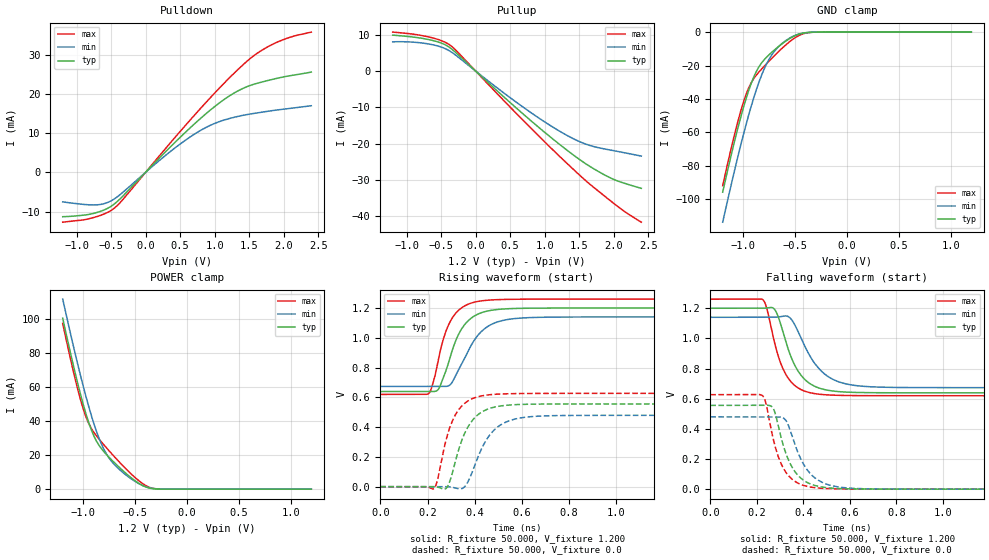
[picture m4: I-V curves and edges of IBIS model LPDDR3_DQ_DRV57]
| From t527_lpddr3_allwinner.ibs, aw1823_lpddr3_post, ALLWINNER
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|   Model LPDDR3_DQ_DRV57
[Model] LPDDR3_DQ_DRV57
Model_type I/O
Polarity   Non-Inverting
Enable   Active-Low
Vinl =  0.600V
Vinh =  0.600V
C_comp   1.906pF   1.854pF   1.980pF
C_comp_pullup   1.172pF   1.161pF   1.190pF
C_comp_pulldown   0.545pF   0.474pF   0.774pF
[Model Spec]
Vinh   0.600V   0.570V   0.630V
Vinl   0.600V   0.570V   0.630V
[Temperature Range]   25.000   0.125k   -40.000
[Voltage Range]   1.200V   1.140V   1.260V
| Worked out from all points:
|   slope of the pulldown table from 0 to 0.18 V, typ, clamps not added: 54.7 ohm
|   slope of the pullup table from 0 to 0.18 V, typ, clamps not added: 56.8 ohm
|   GND clamp passes 1 mA (typ) near -0.45 V on its own axis
|   POWER clamp passes 1 mA (typ) near -0.38 V on its own axis
|   rising waveform, R_fixture 50.000, V_fixture 1.200: 20-80 % time 85.5ps typ, 106ps min, 72.3ps max; typ from 0.639 V to 1.2 V
|   rising waveform, R_fixture 50.000, V_fixture 0.0: 20-80 % time 81.3ps typ, 95.3ps min, 72.3ps max; typ from 0 V to 0.556 V
|   falling waveform, R_fixture 50.000, V_fixture 1.200: 20-80 % time 88.6ps typ, 112ps min, 76.6ps max; typ from 1.2 V to 0.639 V
|   falling waveform, R_fixture 50.000, V_fixture 0.0: 20-80 % time 77.8ps typ, 89.4ps min, 70.9ps max; typ from 0.556 V to 0 V
[Pulldown]
|Voltage   I(typ)   I(min)   I(max)
-1.2V     -11.29mA   -7.519mA   -12.69mA
-719mV    -10.3mA    -8.289mA   -11.33mA
-460mV    -8.161mA   -6.855mA   -9.217mA
-312mV    -5.734mA   -4.826mA   -6.573mA
206mV     3.757mA    3.113mA    4.338mA
576mV     10.19mA    8.17mA     11.93mA
872mV     14.89mA    11.41mA    17.76mA
1.168V    18.93mA    13.48mA    23.25mA
1.501V    22.04mA    14.81mA    28.78mA
1.76V     23.34mA    15.53mA    31.88mA
2.056V    24.51mA    16.21mA    34.18mA
2.4V      25.53mA    16.96mA    35.72mA
[Pullup]
|Voltage   I(typ)   I(min)   I(max)
-1.2V     9.886mA    8.047mA    10.73mA
-708mV    8.778mA    7.54mA     9.508mA
-523mV    7.879mA    6.757mA    8.562mA
-375mV    6.476mA    5.518mA    7.204mA
-264mV    4.691mA    4.02mA     5.313mA
661mV     -11.39mA   -9.587mA   -13.07mA
1.031V    -17.38mA   -14.41mA   -20.11mA
1.327V    -21.87mA   -17.78mA   -25.53mA
1.623V    -25.92mA   -20.33mA   -30.69mA
1.919V    -29.16mA   -21.68mA   -35.27mA
2.141V    -30.86mA   -22.48mA   -38.53mA
2.4V      -32.36mA   -23.46mA   -41.68mA
[GND_clamp]
|Voltage   I(typ)   I(min)   I(max)
-1.2V     -95.73mA   -113.7mA   -91.89mA
-1.1V     -68.95mA   -86.51mA   -64.84mA
-1.025V   -50.74mA   -67.37mA   -47.06mA
-950mV    -35.1mA    -49.78mA   -33.48mA
-900mV    -26.83mA   -39.23mA   -27.79mA
-825mV    -18.46mA   -25.81mA   -22.14mA
-750mV    -13.41mA   -15.98mA   -17.2mA
-675mV    -9.342mA   -9.629mA   -12.51mA
-600mV    -5.766mA   -5.48mA    -8.156mA
-475mV    -1.482mA   -1.412mA   -2.402mA
-350mV    -108.6uA   -148.6uA   -181uA
1.2V      0A         0A         0A
[POWER_clamp]
|Voltage   I(typ)   I(min)   I(max)
-1.2V     100.2mA    111.4mA    97.13mA
-1.1V     73.3mA     84.65mA    69.74mA
-1.025V   54.87mA    65.84mA    51.77mA
-975mV    44.01mA    54.17mA    42.28mA
-925mV    34.95mA    43.45mA    35.71mA
-850mV    25.74mA    29.9mA     29.38mA
-775mV    20.11mA    20.35mA    24.04mA
-700mV    15.48mA    14.34mA    18.95mA
-575mV    8.482mA    7.639mA    11.02mA
-425mV    2.019mA    2.056mA    3.164mA
-300mV    129uA      244.9uA    195uA
1.2V      0A         0A         0A
[Ramp]
| variable   typ   min   max
dV/dt_r   0.333/82.648p   0.288/96.127p   0.376/72.267p
dV/dt_f   0.337/89.050p   0.280/0.114n   0.384/76.573p
R_load = 50.000
[Rising Waveform]
R_fixture= 50.000
V_fixture= 1.200
V_fixture_min= 1.140
V_fixture_max= 1.260
|time   V(typ)   V(min)   V(max)
0s        638.8mV    673.2mV    619.7mV
207ps     639mV      673.4mV    628.5mV
228ps     639.2mV    673.5mV    722.6mV
249ps     661.4mV    673.3mV    876.2mV
299ps     886.3mV    689.6mV    1.118V
355ps     1.084V     854.4mV    1.212V
433ps     1.171V     1.049V     1.249V
520ps     1.193V     1.117V     1.257V
670ps     1.199V     1.137V     1.26V
3ns       1.2V       1.14V      1.26V
[Rising Waveform]
R_fixture= 50.000
V_fixture= 0.0
V_fixture_min= 0.0
V_fixture_max= 0.0
|time   V(typ)   V(min)   V(max)
0s        1.99uV     22.42uV    1.058uV
228ps     -88.78uV   88.02uV    -12.63mV
242ps     -2.701mV   126.6uV    43.32mV
277ps     -13.67mV   99.63uV    303.9mV
313ps     138.7mV    -6.895mV   467.7mV
358ps     360.6mV    540.3uV    560.7mV
452ps     519.1mV    320.9mV    615.5mV
538ps     547.4mV    437.8mV    624mV
689ps     554.8mV    475mV      626.4mV
3ns       555.7mV    479.2mV    626.8mV
[Falling Waveform]
R_fixture= 50.000
V_fixture= 1.200
V_fixture_min= 1.140
V_fixture_max= 1.260
|time   V(typ)   V(min)   V(max)
0s        1.2V       1.14V      1.26V
226ps     1.2V       1.14V      1.257V
270ps     1.202V     1.14V      1.014V
303ps     1.093V     1.145V     834.6mV
339ps     911.1mV    1.141V     727.7mV
392ps     752.2mV    996.3mV    659.2mV
458ps     676.2mV    816.7mV    631.6mV
548ps     647.6mV    714.4mV    622.4mV
708ps     639.8mV    677.9mV    620mV
3ns       638.8mV    673.2mV    619.7mV
[Falling Waveform]
R_fixture= 50.000
V_fixture= 0.0
V_fixture_min= 0.0
V_fixture_max= 0.0
|time   V(typ)   V(min)   V(max)
0s        555.7mV    479.2mV    626.8mV
223ps     555.7mV    479mV      622.1mV
239ps     556.5mV    479mV      570.9mV
263ps     549.4mV    479.1mV    386.9mV
300ps     370.8mV    478.8mV    185.5mV
347ps     159.3mV    375.5mV    72.33mV
392ps     69.67mV    191.7mV    29.81mV
442ps     28.05mV    85.09mV    11.43mV
678ps     677.3uV    2.203mV    322.9uV
3ns       1.998uV    22.4uV     1.062uV
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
